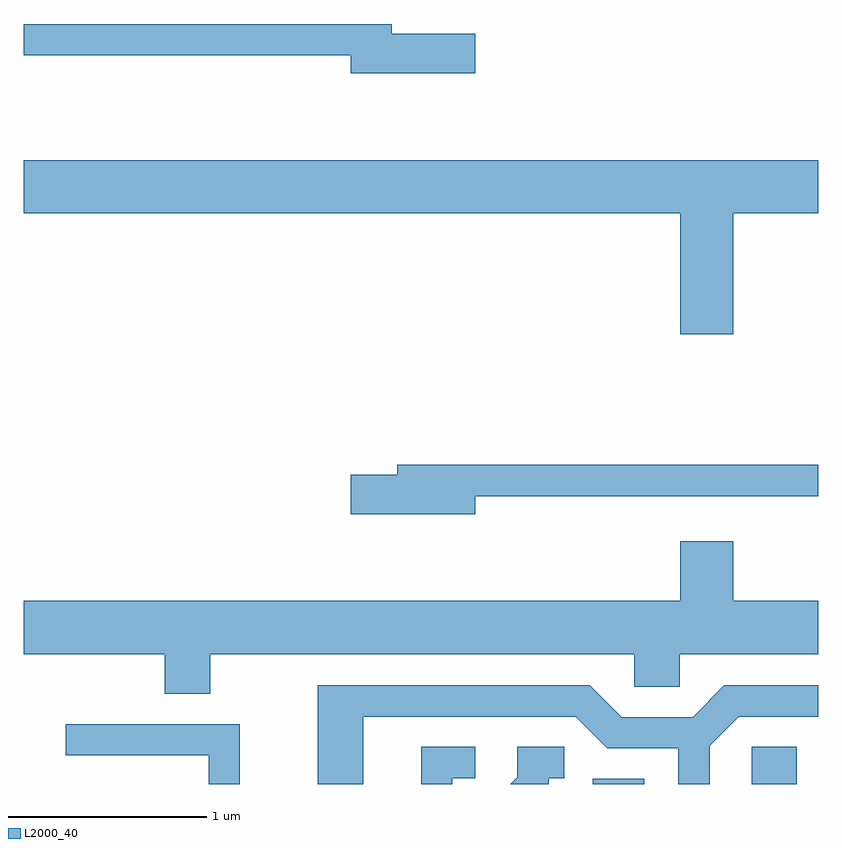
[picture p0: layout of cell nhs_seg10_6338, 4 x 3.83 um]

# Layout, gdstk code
import gdstk
lib = gdstk.Library(unit=1e-6, precision=1e-09)
def R(c, l, rs):  # rectangles x0, y0, x1, y1
    for r in rs: c.add(gdstk.rectangle(r[:2], r[2:], *l))
def P(c, l, *ps):  # polygons
    for p in ps: c.add(gdstk.Polygon(p, *l))
L2000_40 = (2000, 40)

nhs_seg10_6338 = lib.new_cell('nhs_seg10_6338')
R(nhs_seg10_6338, L2000_40, [(374.476,2186.522,374.734,2186.549), (375.276,2186.522,375.504,2186.709)])
P(nhs_seg10_6338, L2000_40, [(373.884,2190.299),(373.464,2190.299),(373.464,2190.349),(371.611,2190.349),(371.611,2190.191),(373.256,2190.191),(373.256,2190.101),(373.884,2190.101)],
  [(375.184,2189.396),(375.611,2189.396),(375.611,2189.664),(371.611,2189.664),(371.611,2189.396),(374.916,2189.396),(374.916,2188.786),(375.184,2188.786)],
  [(373.884,2187.971),(375.611,2187.971),(375.611,2188.129),(373.491,2188.129),(373.491,2188.079),(373.256,2188.079),(373.256,2187.881),(373.884,2187.881)],
  [(372.549,2187.176),(374.686,2187.176),(374.686,2187.011),(374.914,2187.011),(374.914,2187.176),(375.611,2187.176),(375.611,2187.444),(375.184,2187.444),(375.184,2187.744),(374.916,2187.744),(374.916,2187.444),(371.611,2187.444),(371.611,2187.176),(372.321,2187.176),(372.321,2186.976),(372.549,2186.976)],
  [(373.319,2186.861),(374.389,2186.861),(374.549,2186.701),(374.906,2186.701),(374.906,2186.522),(375.064,2186.522),(375.064,2186.714),(375.212,2186.861),(375.611,2186.861),(375.611,2187.019),(375.139,2187.019),(374.979,2186.859),(374.622,2186.859),(374.462,2187.019),(373.091,2187.019),(373.091,2186.522),(373.319,2186.522)],
  [(372.699,2186.824),(371.823,2186.824),(371.823,2186.666),(372.541,2186.666),(372.541,2186.522),(372.699,2186.522)],
  [(373.769,2186.551),(373.883,2186.551),(373.883,2186.709),(373.611,2186.709),(373.611,2186.522),(373.769,2186.522)],
  [(374.254,2186.551),(374.333,2186.551),(374.333,2186.709),(374.096,2186.709),(374.096,2186.557),(374.061,2186.522),(374.254,2186.522)])

lib.write_gds('nhs_seg10_6338.gds')
